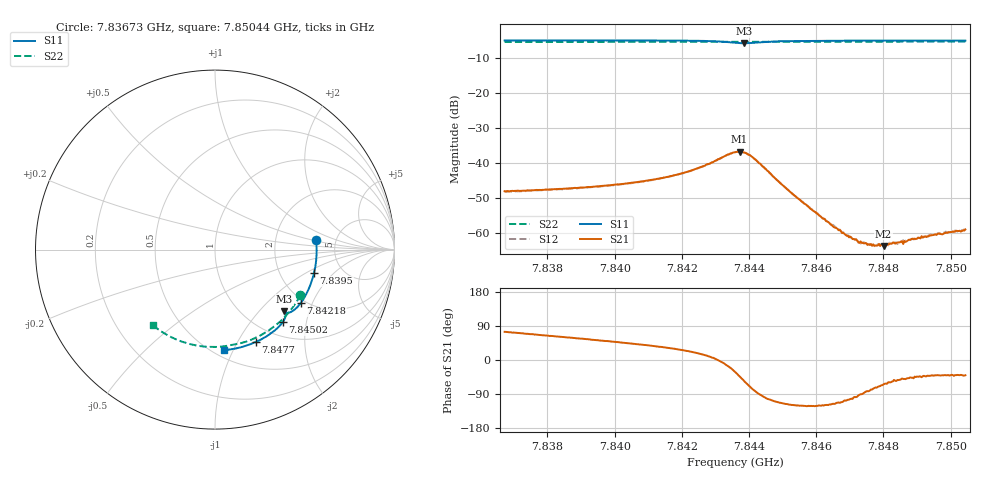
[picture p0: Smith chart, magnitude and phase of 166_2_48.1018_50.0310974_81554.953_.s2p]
#  HZ  S  RI  R  50.00
! Rohde & Schwarz Vector Network Analyzer
! Rohde-Schwarz,ZNB20-2Port,1311601062101988,3.16
! Created: UTC 12/23/2023, 3:51:17 AM
! freq[Hz]  re:S11  im:S11  re:S21  im:S21  re:S12  im:S12  re:S22  im:S22
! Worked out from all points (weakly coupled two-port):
!   401 points, 7.83673 GHz to 7.85044 GHz, reference 50 ohm
!   highest |S21| = -36.74 dB at 7.84372 GHz (marker M1); lowest = -63.8 dB at 7.848 GHz (marker M2)
!   lowest |S11| = -5.7 dB at 7.84386 GHz (marker M3), VSWR 3.14, Z = 74.1 - j69.5 ohm
!   |S11| at or under -10 dB: nowhere
!   |S22| runs from -5.4 to -5.3 dB; largest |S21 - S12| = 0.00033
!   S11 on the Smith chart (normalised r, x): 7.83673 GHz: 3.51, +0.56; 7.8395 GHz: 3.12, -1.19; 7.84218 GHz: 1.89, -1.65; 7.84502 GHz: 1.26, -1.47; 7.8477 GHz: 0.79, -1.20; 7.85044 GHz: 0.56, -0.92
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7.836726e9  0.5634 0.054  0.00106 0.00379  0.00109 0.00369  0.4762 -0.2534
7.839023e9  0.5581 -0.0985  0.00245 0.00369  0.00248 0.00367  0.3815 -0.3827
7.839503e9  0.5518 -0.13  0.00284 0.00366  0.00281 0.00357  0.3571 -0.4058
7.84132e9  0.5093 -0.2462  0.00487 0.00342  0.00483 0.00342  0.2526 -0.4786
7.842177e9  0.4772 -0.2985  0.00687 0.00301  0.00682 0.00303  0.1978 -0.5038
7.843068e9  0.4274 -0.3452  0.0113 -2.67e-05  0.0111 2.46e-05  0.138 -0.5227
7.843582e9  0.3916 -0.3504  0.0122 -0.00736  0.0121 -0.00738  0.1036 -0.5291
7.843719e9  0.3867 -0.3469  0.0106 -0.00998  0.0105 -0.00994  0.0949 -0.5306
7.843857e9  0.3865 -0.3437  0.0079 -0.0117  0.00802 -0.0115  0.0862 -0.532
7.844165e9  0.3933 -0.3495  0.00169 -0.0113  0.00178 -0.0112  0.0662 -0.5361
7.845022e9  0.3769 -0.405  -0.00196 -0.00426  -0.00195 -0.00431  0.00654 -0.5426
7.845879e9  0.3343 -0.4494  -0.00112 -0.00181  -0.00112 -0.00184  -0.0539 -0.5407
7.846496e9  0.2999 -0.4749  -0.000531 -0.00112  -0.000579 -0.00117  -0.097 -0.5354
7.847079e9  0.2661 -0.4956  -0.000179 -0.000792  -0.000175 -0.000781  -0.1371 -0.5268
7.847319e9  0.2516 -0.5032  -4.36e-06 -0.000753  -3.75e-05 -0.000701  -0.1533 -0.5226
7.847696e9  0.2287 -0.5144  0.00017 -0.000657  0.000168 -0.00066  -0.1786 -0.5146
7.848005e9  0.2097 -0.5225  0.000281 -0.000581  0.000283 -0.000603  -0.1988 -0.5072
7.848176e9  0.199 -0.5266  0.000354 -0.000588  0.000344 -0.000634  -0.21 -0.5028
7.848656e9  0.1688 -0.537  0.000471 -0.000572  0.000494 -0.000596  -0.2407 -0.4893
7.849239e9  0.1312 -0.5472  0.000653 -0.000604  0.000622 -0.000547  -0.277 -0.4701
7.849685e9  0.1022 -0.5533  0.00073 -0.00063  0.000747 -0.000641  -0.3036 -0.4536
7.850439e9  0.0525 -0.5599  0.00085 -0.000721  0.000811 -0.000727  -0.3462 -0.4224
